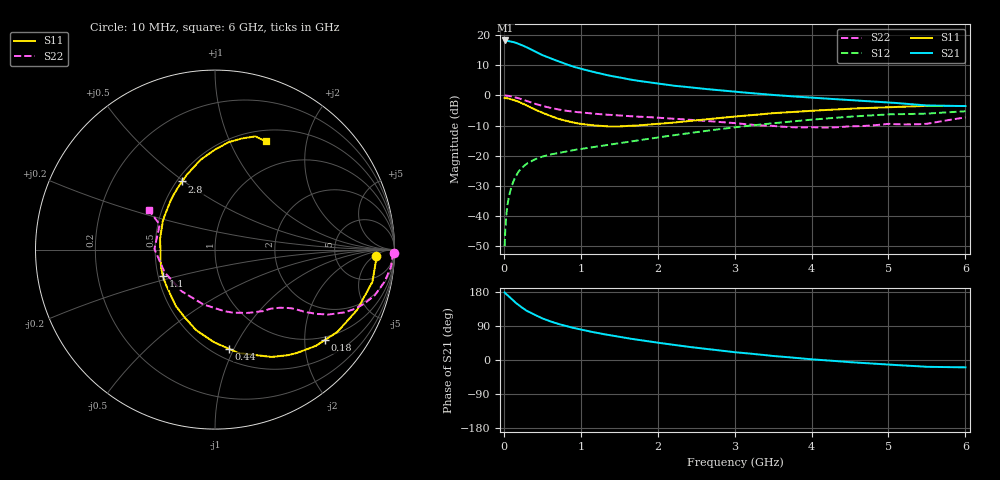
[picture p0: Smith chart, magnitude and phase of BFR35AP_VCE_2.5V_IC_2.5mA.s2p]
! Infineon Technologies  Discrete & RF Semiconductors
! BFR35AP
! VCE =  2.5 V,  IC =  2.5 mA
! Common Emitter S-Parameters:  Nov 2015
# GHz  S  MA  R  50
!  f  S11  S21  S12  S22
! GHz  MAG  ANG  MAG  ANG  MAG  ANG  MAG  ANG
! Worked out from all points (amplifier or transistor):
!   210 points, 10 MHz to 6 GHz, reference 50 ohm
!   highest |S21| = 18.2 dB at 20 MHz (marker M1)
!   |S21| within 3 dB of that: start of sweep to 354.8 MHz
!   unconditionally stable (mu >= 1): 1.062 GHz to 3.987 GHz; 5.239 GHz to 5.983 GHz
!   at 185 MHz: K = 0.25, MSG = 21.3 dB, |S12| = -25.5 dB
!   at 1.52 GHz: K = 1.15, MAG = 8.5 dB, |S12| = -15.8 dB
!   at 6 GHz: K = 1.00, MSG = 0.9 dB, |S12| = -5.3 dB
!   S11 on the Smith chart (normalised r, x): 10 MHz: 16, -7; 180 MHz: 0.92, -2.48; 440 MHz: 0.60, -0.95; 1.1 GHz: 0.53, -0.18; 2.8 GHz: 0.53, +0.49; 6 GHz: 0.63, +1.37
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0.01  0.9003 -2.4  7.995 178.3  0.0032 88.0  0.9969 -1.0
0.02  0.8981 -4.6  8.082 176.0  0.0063 84.0  0.9895 -2.2
0.05  0.8951 -11.6  7.949 170.4  0.0162 83.3  0.9854 -5.6
0.1  0.8602 -23.0  7.75 161.4  0.031 77.0  0.9616 -10.7
0.15  0.8219 -33.9  7.457 151.5  0.0445 71.0  0.927 -15.8
0.18  0.792 -39.6  7.188 147.0  0.0517 67.9  0.9031 -18.0
0.24  0.7342 -51.7  6.71 137.8  0.0639 62.7  0.8534 -22.4
0.3  0.6756 -62.3  6.213 129.5  0.0744 58.3  0.8014 -25.9
0.44  0.557 -82.2  5.052 115.8  0.0908 51.6  0.7032 -30.8
0.5  0.5161 -90.6  4.635 109.8  0.0969 49.7  0.6682 -32.4
0.6  0.4609 -103.2  4.125 102.2  0.1046 47.7  0.622 -34.2
0.7  0.4126 -114.4  3.692 95.5  0.1109 46.7  0.586 -35.5
0.8  0.382 -125.0  3.298 89.9  0.1175 46.3  0.5574 -36.5
1.02  0.3348 -145.1  2.713 79.5  0.1307 45.9  0.5185 -38.9
1.1  0.3264 -152.9  2.555 76.0  0.1355 46.1  0.5069 -39.9
1.6  0.312 168.9  1.865 57.5  0.1689 47.5  0.4537 -46.5
2.02  0.3388 145.7  1.551 45.2  0.2025 47.6  0.4248 -54.2
2.8  0.4216 115.8  1.214 25.4  0.2752 44.2  0.3646 -74.3
3.1  0.4562 108.1  1.12 18.8  0.3057 41.5  0.337 -85.0
4.1  0.5646 88.6  0.899 0.4  0.4049 30.4  0.2938 -133.9
5.1  0.6424 75.2  0.747 -13.3  0.4864 16.1  0.3331 174.7
6  0.6658 65.0  0.664 -19.4  0.5451 5.5  0.4315 149.1
